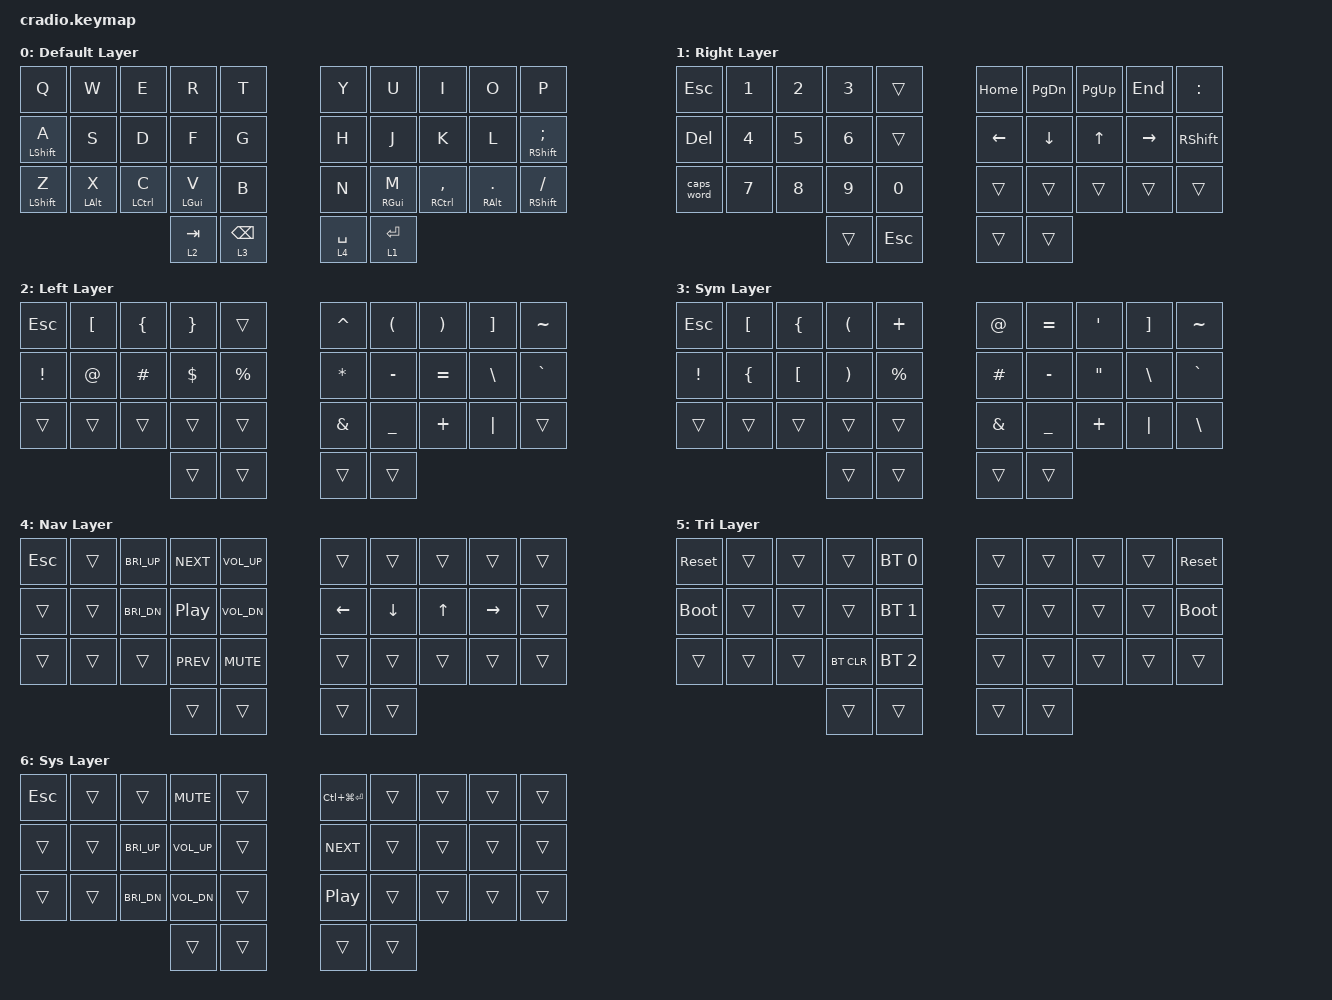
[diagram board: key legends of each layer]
// Copyright (c) 2022 The ZMK Contributors
// SPDX-License-Identifier: MIT

#include <behaviors.dtsi>
#include <dt-bindings/zmk/keys.h>
#include <dt-bindings/zmk/bt.h>

// Home row mods macro
/* #define _HRML(k1,k2,k3,k4) &ht LSHFT k1  &ht LALT k2  &ht LCTRL k3  &ht LGUI k4 */
/* #define _HRMR(k1,k2,k3,k4) &ht RGUI k1  &ht RCTRL k2  &ht RALT k3  &ht RSHFT k4 */
/* Removed the above because qmk.nvim would not work otherwise */
/ {
    behaviors {
        ht: hold_tap {
            compatible = "zmk,behavior-hold-tap";
            #binding-cells = <2>;
            flavor = "tap-preferred";
            tapping-term-ms = <220>;
            quick-tap-ms = <150>;
            require-prior-idle-ms = <100>;
            bindings = <&kp>, <&kp>;
        };
    };

    conditional_layers {
        compatible = "zmk,conditional-layers";
        tri_layer {
            if-layers = <1 2>;
            then-layer = <5>;
        };
        sys_layer {
            if-layers = <3 4>;
            then-layer = <6>;
        };
    };

    keymap {
        compatible = "zmk,keymap";
        default_layer {
            display-name = "Default Layer";
            bindings = <
//    ┌─────────┬──────┬──────┬──────┬──────┐   ┌──────┬──────┬──────┬──────┬─────────┐
//    │    Q    │  W   │  E   │  R   │  T   │   │  Y   │  U   │  I   │  O   │    P    │
//    ├─────────┼──────┼──────┼──────┼──────┤   ├──────┼──────┼──────┼──────┼─────────┤
//    │  lsft A │  S   │  D   │  F   │  G   │   │  H   │  J   │  K   │  L   │  rsft ; │
//    ├─────────┼──────┼──────┼──────┼──────┤   ├──────┼──────┼──────┼──────┼─────────┤
//    │   ⇧ Z   │  ⌥ X │  ⌃ C │  ⌘ V │  B   │   │  N   │  ⌘ M │  ⌃ , │  ⌥ . │   ⇧ /   │
//    └─────────┴──────┴──────┼──────┼──────┤   ├──────┼──────┼──────┴──────┴─────────┘
//                            │  2 ⇥ │  3 ⌫ │   │  4 ␣ │  1 ⏎ │
//                            └──────┴──────┘   └──────┴──────┘
  &kp Q          &kp W        &kp E         &kp R        &kp T            &kp Y         &kp U         &kp I             &kp O          &kp P
  &mt LSHIFT A   &kp S        &kp D         &kp F        &kp G            &kp H         &kp J         &kp K             &kp L          &mt RSHIFT SEMI
  &ht LSHFT Z    &ht LALT X   &ht LCTRL C   &ht LGUI V   &kp B            &kp N         &ht RGUI M    &ht RCTRL COMMA   &ht RALT DOT   &ht RSHFT FSLH
                                            &lt 2 TAB    &lt 3 BSPC       &lt 4 SPACE   &lt 1 ENTER
            >;
        };

        right_layer {
            display-name = "Right Layer";
            bindings = <
//    ┌───────┬───┬───┬─────┬─────┐   ┌──────┬──────┬──────┬──────┬──────┐
//    │  Esc  │ 1 │ 2 │  3  │     │   │ home │ pgdn │ pgup │ end  │  :   │
//    ├───────┼───┼───┼─────┼─────┤   ├──────┼──────┼──────┼──────┼──────┤
//    │  del  │ 4 │ 5 │  6  │     │   │ left │ down │  up  │ rght │ rsft │
//    ├───────┼───┼───┼─────┼─────┤   ├──────┼──────┼──────┼──────┼──────┤
//    │ capsw │ 7 │ 8 │  9  │  0  │   │      │      │      │      │      │
//    └───────┴───┴───┼─────┼─────┤   ├──────┼──────┼──────┴──────┴──────┘
//                    │     │ Esc │   │      │      │
//                    └─────┴─────┘   └──────┴──────┘
  &kp ESC      &kp N1   &kp N2   &kp N3   &trans        &kp HOME   &kp PG_DN   &kp PG_UP   &kp END     &kp COLON
  &kp DEL      &kp N4   &kp N5   &kp N6   &trans        &kp LEFT   &kp DOWN    &kp UP      &kp RIGHT   &kp RSHIFT
  &caps_word   &kp N7   &kp N8   &kp N9   &kp N0        &trans     &trans      &trans      &trans      &trans
                                 &trans   &kp ESC       &trans     &trans
            >;
        };

        left_layer {
            display-name = "Left Layer";
            bindings = <
//    ┌─────┬─────┬─────┬─────┬─────┐   ┌─────┬─────┬───┬───┬─────┐
//    │ Esc │  [  │  {  │  }  │     │   │  ^  │  (  │ ) │ ] │  ~  │
//    ├─────┼─────┼─────┼─────┼─────┤   ├─────┼─────┼───┼───┼─────┤
//    │  !  │  @  │  #  │  $  │  %  │   │  *  │  -  │ = │ \ │  `  │
//    ├─────┼─────┼─────┼─────┼─────┤   ├─────┼─────┼───┼───┼─────┤
//    │     │     │     │     │     │   │  &  │  _  │ + │ | │     │
//    └─────┴─────┴─────┼─────┼─────┤   ├─────┼─────┼───┴───┴─────┘
//                      │     │     │   │     │     │
//                      └─────┴─────┘   └─────┴─────┘
  &kp ESC    &kp LBKT   &kp LBRC   &kp RBRC   &trans          &kp CARET   &kp LPAR    &kp RPAR    &kp RBKT   &kp TILDE
  &kp EXCL   &kp AT     &kp HASH   &kp DLLR   &kp PRCNT       &kp ASTRK   &kp MINUS   &kp EQUAL   &kp BSLH   &kp GRAVE
  &trans     &trans     &trans     &trans     &trans          &kp AMPS    &kp UNDER   &kp PLUS    &kp PIPE   &trans
                                   &trans     &trans          &trans      &trans
            >;
        };
        sym_layer {
            display-name = "Sym Layer";
            bindings = <
//    ┌─────┬─────┬─────┬─────┬─────┐   ┌─────┬─────┬───┬───┬───┐
//    │ Esc │  [  │  {  │  (  │  +  │   │  @  │  =  │ ' │ ] │ ~ │
//    ├─────┼─────┼─────┼─────┼─────┤   ├─────┼─────┼───┼───┼───┤
//    │  !  │  {  │  [  │  )  │  %  │   │  #  │  -  │ " │ \ │ ` │
//    ├─────┼─────┼─────┼─────┼─────┤   ├─────┼─────┼───┼───┼───┤
//    │     │     │     │     │     │   │  &  │  _  │ + │ | │ \ │
//    └─────┴─────┴─────┼─────┼─────┤   ├─────┼─────┼───┴───┴───┘
//                      │     │     │   │     │     │
//                      └─────┴─────┘   └─────┴─────┘
  &kp ESC    &kp LBKT   &kp LBRC   &kp LPAR   &kp PLUS        &kp AT     &kp EQUAL   &kp SQT    &kp RBKT   &kp TILDE
  &kp EXCL   &kp LBRC   &kp LBKT   &kp RPAR   &kp PRCNT       &kp HASH   &kp MINUS   &kp DQT    &kp BSLH   &kp GRAVE
  &trans     &trans     &trans     &trans     &trans          &kp AMPS   &kp UNDER   &kp PLUS   &kp PIPE   &kp BSLH
                                   &trans     &trans          &trans     &trans
            >;

        };
        nav_layer {
            display-name = "Nav Layer";
            bindings = <
//    ┌─────┬─────┬──────┬──────┬──────┐   ┌──────┬──────┬─────┬──────┬─────┐
//    │ Esc │     │ bri+ │ next │ volu │   │      │      │     │      │     │
//    ├─────┼─────┼──────┼──────┼──────┤   ├──────┼──────┼─────┼──────┼─────┤
//    │     │     │ bri- │ play │ vold │   │ left │ down │ up  │ rght │     │
//    ├─────┼─────┼──────┼──────┼──────┤   ├──────┼──────┼─────┼──────┼─────┤
//    │     │     │      │ prev │ mute │   │      │      │     │      │     │
//    └─────┴─────┴──────┼──────┼──────┤   ├──────┼──────┼─────┴──────┴─────┘
//                       │      │      │   │      │      │
//                       └──────┴──────┘   └──────┴──────┘
  &kp ESC   &trans   &kp C_BRI_UP   &kp C_NEXT   &kp C_VOL_UP       &trans     &trans     &trans   &trans      &trans
  &trans    &trans   &kp C_BRI_DN   &kp C_PP     &kp C_VOL_DN       &kp LEFT   &kp DOWN   &kp UP   &kp RIGHT   &trans
  &trans    &trans   &trans         &kp C_PREV   &kp C_MUTE         &trans     &trans     &trans   &trans      &trans
                                    &trans       &trans             &trans     &trans
            >;
        };
        tri_layer {
            display-name = "Tri Layer";
            bindings = <
//    ┌────────────┬─────┬─────┬────────┬──────────┐   ┌─────┬─────┬─────┬─────┬────────────┐
//    │ &sys_reset │     │     │        │ bt_sel 0 │   │     │     │     │     │ &sys_reset │
//    ├────────────┼─────┼─────┼────────┼──────────┤   ├─────┼─────┼─────┼─────┼────────────┤
//    │    boot    │     │     │        │ bt_sel 1 │   │     │     │     │     │    boot    │
//    ├────────────┼─────┼─────┼────────┼──────────┤   ├─────┼─────┼─────┼─────┼────────────┤
//    │            │     │     │ bt_clr │ bt_sel 2 │   │     │     │     │     │            │
//    └────────────┴─────┴─────┼────────┼──────────┤   ├─────┼─────┼─────┴─────┴────────────┘
//                             │        │          │   │     │     │
//                             └────────┴──────────┘   └─────┴─────┘
  &sys_reset    &trans   &trans   &trans       &bt BT_SEL 0       &trans   &trans   &trans   &trans   &sys_reset
  &bootloader   &trans   &trans   &trans       &bt BT_SEL 1       &trans   &trans   &trans   &trans   &bootloader
  &trans        &trans   &trans   &bt BT_CLR   &bt BT_SEL 2       &trans   &trans   &trans   &trans   &trans
                                  &trans       &trans             &trans   &trans
            >;
        };
      sys_layer {
            display-name = "Sys Layer";
            bindings = <
//    ┌─────┬─────┬──────┬──────┬─────┐   ┌───────────────┬─────┬─────┬─────┬─────┐
//    │ Esc │     │      │ mute │     │   │ lctl(lgui(⏎)) │     │     │     │     │
//    ├─────┼─────┼──────┼──────┼─────┤   ├───────────────┼─────┼─────┼─────┼─────┤
//    │     │     │ bri+ │ volu │     │   │     next      │     │     │     │     │
//    ├─────┼─────┼──────┼──────┼─────┤   ├───────────────┼─────┼─────┼─────┼─────┤
//    │     │     │ bri- │ vold │     │   │     play      │     │     │     │     │
//    └─────┴─────┴──────┼──────┼─────┤   ├───────────────┼─────┼─────┴─────┴─────┘
//                       │      │     │   │               │     │
//                       └──────┴─────┘   └───────────────┴─────┘
  &kp ESC   &trans   &trans         &kp C_MUTE     &trans       &kp LC(LG(ENTER))   &trans   &trans   &trans   &trans
  &trans    &trans   &kp C_BRI_UP   &kp C_VOL_UP   &trans       &kp C_NEXT          &trans   &trans   &trans   &trans
  &trans    &trans   &kp C_BRI_DN   &kp C_VOL_DN   &trans       &kp C_PP            &trans   &trans   &trans   &trans
                                    &trans         &trans       &trans              &trans
            >;
        };
    };
};
